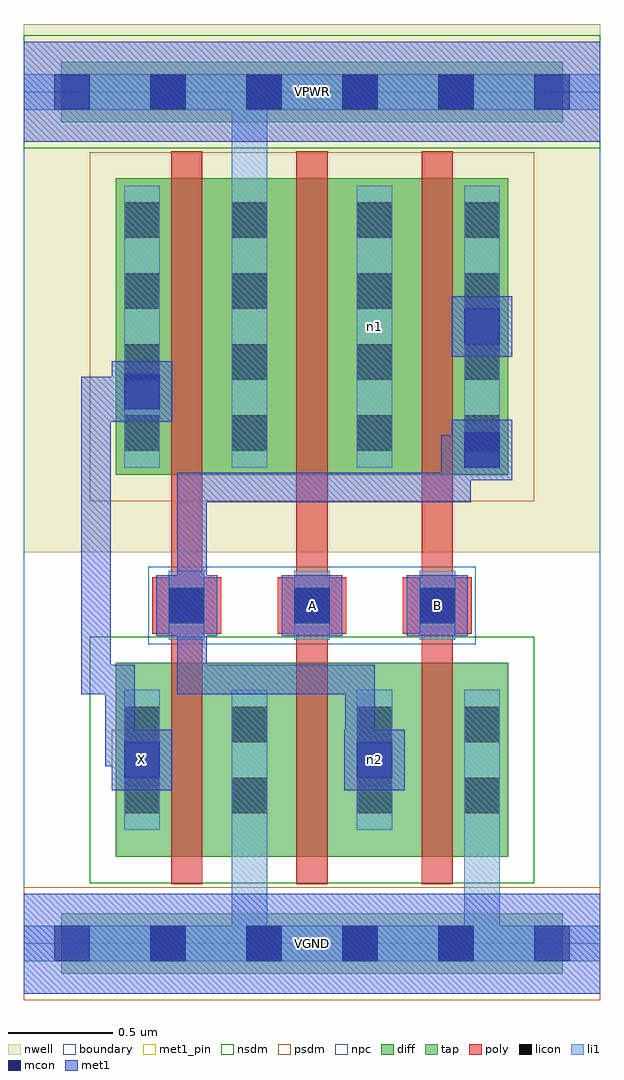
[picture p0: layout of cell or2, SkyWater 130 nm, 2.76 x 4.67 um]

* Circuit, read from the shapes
.subckt or2 A B VGND VPWR X n1 n2
XM1 VGND n2 X VGND sky130_fd_pr__nfet_01v8 w=0.93 l=0.15
XM2 n2 A VGND VGND sky130_fd_pr__nfet_01v8 w=0.93 l=0.15
XM3 VGND B n2 VGND sky130_fd_pr__nfet_01v8 w=0.93 l=0.15
XM4 VPWR n2 X VPWR sky130_fd_pr__pfet_01v8 w=1.42 l=0.15
XM5 n1 A VPWR VPWR sky130_fd_pr__pfet_01v8 w=1.42 l=0.15
XM6 n2 B n1 VPWR sky130_fd_pr__pfet_01v8 w=1.42 l=0.15
.ends

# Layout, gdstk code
import gdstk
lib = gdstk.Library(unit=1e-6, precision=1e-09)
def R(c, l, rs):  # rectangles x0, y0, x1, y1
    for r in rs: c.add(gdstk.rectangle(r[:2], r[2:], *l))
def A(c, l, x, y, w, h, nx, ny, dx, dy):  # array of equal rectangles
    R(c, l, [(x+i*dx, y+j*dy, x+i*dx+w, y+j*dy+h) for i in range(nx) for j in range(ny)])
nwell = (64, 20)
diff = (65, 20)
tap = (65, 44)
poly = (66, 20)
licon = (66, 44)
li1 = (67, 20)
mcon = (67, 44)
met1_pin = (68, 16)
met1 = (68, 20)
nsdm = (93, 44)
psdm = (94, 20)
npc = (95, 20)
boundary = (235, 4)

or2 = lib.new_cell('or2')
R(or2, nwell, [(0,1.875,2.76,4.405)])
R(or2, diff, [(0.44,0.415,2.32,1.345), (0.44,2.245,2.32,3.665)])
R(or2, tap, [(0.18,-0.145,2.58,0.145), (0.18,3.935,2.58,4.225)])
A(or2, poly, 0.705, 0.285, 0.15, 3.51, 3, 1, 0.6, 0)
A(or2, poly, 0.615, 1.485, 0.33, 0.27, 3, 1, 0.6, 0)
A(or2, licon, 0.605, -0.085, 0.17, 0.17, 4, 2, 0.46, 4.08)
A(or2, licon, 0.695, 1.535, 0.17, 0.17, 3, 1, 0.6, 0)
A(or2, licon, 0.48, 2.36, 0.17, 0.17, 1, 4, 0, 0.34)
A(or2, licon, 0.995, 2.36, 0.17, 0.17, 1, 4, 0, 0.34)
A(or2, licon, 1.595, 2.36, 0.17, 0.17, 1, 4, 0, 0.34)
A(or2, licon, 2.11, 2.36, 0.17, 0.17, 1, 4, 0, 0.34)
R(or2, licon, [(0.48,0.625,0.65,0.795), (0.995,0.625,1.165,0.795), (1.595,0.625,1.765,0.795), (2.11,0.625,2.28,0.795), (0.48,0.965,0.65,1.135), (0.995,0.965,1.165,1.135), (1.595,0.965,1.765,1.135), (2.11,0.965,2.28,1.135)])
A(or2, li1, 0.695, 1.455, 0.17, 0.33, 3, 1, 0.6, 0)
R(or2, li1, [(0,-0.085,2.76,0.085), (0.995,-0.085,1.165,1.215), (2.11,-0.085,2.28,1.215), (0.48,0.545,0.65,1.215), (0.995,0.545,1.165,1.215), (1.595,0.545,1.765,1.215), (2.11,0.545,2.28,1.215), (0.48,2.28,0.65,3.63), (0.995,2.28,1.165,3.63), (0.995,2.28,1.165,4.165), (1.595,2.28,1.765,3.63), (2.11,2.28,2.28,3.63), (0,3.995,2.76,4.165)])
A(or2, mcon, 0.145, -0.085, 0.17, 0.17, 6, 2, 0.46, 4.08)
A(or2, mcon, 0.695, 1.535, 0.17, 0.17, 3, 1, 0.6, 0)
R(or2, mcon, [(0.48,0.795,0.65,0.965), (1.595,0.795,1.765,0.965), (2.11,2.28,2.28,2.45), (0.48,2.56,0.65,2.73), (2.11,2.87,2.28,3.04)])
R(or2, met1_pin, [(0,-0.24,2.76,0.24), (0.42,0.735,0.71,1.025), (1.235,1.475,1.525,1.765), (1.835,1.475,2.125,1.765), (0,3.84,2.76,4.32)])
A(or2, met1, 0.635, 1.475, 0.29, 0.29, 3, 1, 0.6, 0)
R(or2, met1, [(0,-0.24,2.76,0.24), (0.42,0.735,0.71,1.025), (1.535,0.735,1.825,1.025), (0.39,0.85,0.53,1.335), (0.39,0.85,0.645,0.99), (0.505,0.85,0.645,0.99), (1.54,0.85,1.68,0.99), (1.54,0.85,1.68,1.335), (0.275,1.195,0.53,1.335), (0.275,1.195,0.415,2.715), (0.735,1.195,0.875,1.68), (0.735,1.195,1.68,1.335), (0.735,1.54,0.875,1.68), (0.735,1.54,0.875,2.255), (0.735,2.115,2.14,2.255), (2,2.115,2.14,2.435), (2.05,2.22,2.34,2.51), (2,2.295,2.265,2.435), (0.415,2.5,0.42,2.715), (0.42,2.5,0.71,2.79), (0.275,2.575,0.53,2.715), (0.39,2.575,0.635,2.715), (2.05,2.81,2.34,3.1), (0,3.84,2.76,4.32)])
R(or2, nsdm, [(0.315,0.29,2.445,1.47), (0,3.81,2.76,4.35)])
R(or2, psdm, [(0,-0.27,2.76,0.27), (0.315,2.12,2.445,3.79)])
R(or2, npc, [(0.595,1.435,2.165,1.805)])
R(or2, boundary, [(0,0,2.76,4.08)])
or2.add(gdstk.Label('n2', (1.68,0.88), layer=67, texttype=5))
or2.add(gdstk.Label('n1', (1.68,2.955), layer=67, texttype=5))
or2.add(gdstk.Label('A', (1.38,1.62), layer=68, texttype=5))
or2.add(gdstk.Label('B', (1.98,1.62), layer=68, texttype=5))
or2.add(gdstk.Label('X', (0.565,0.88), layer=68, texttype=5))
or2.add(gdstk.Label('VPWR', (1.38,4.08), layer=68, texttype=5))
or2.add(gdstk.Label('VGND', (1.38,0), layer=68, texttype=5))
or2.add(gdstk.Label('A', (1.38,1.62), layer=68, texttype=16))
or2.add(gdstk.Label('B', (1.98,1.62), layer=68, texttype=16))
or2.add(gdstk.Label('X', (0.565,0.88), layer=68, texttype=16))
or2.add(gdstk.Label('VPWR', (1.38,4.08), layer=68, texttype=16))
or2.add(gdstk.Label('VGND', (1.38,0), layer=68, texttype=16))

lib.write_gds('or2.gds')
